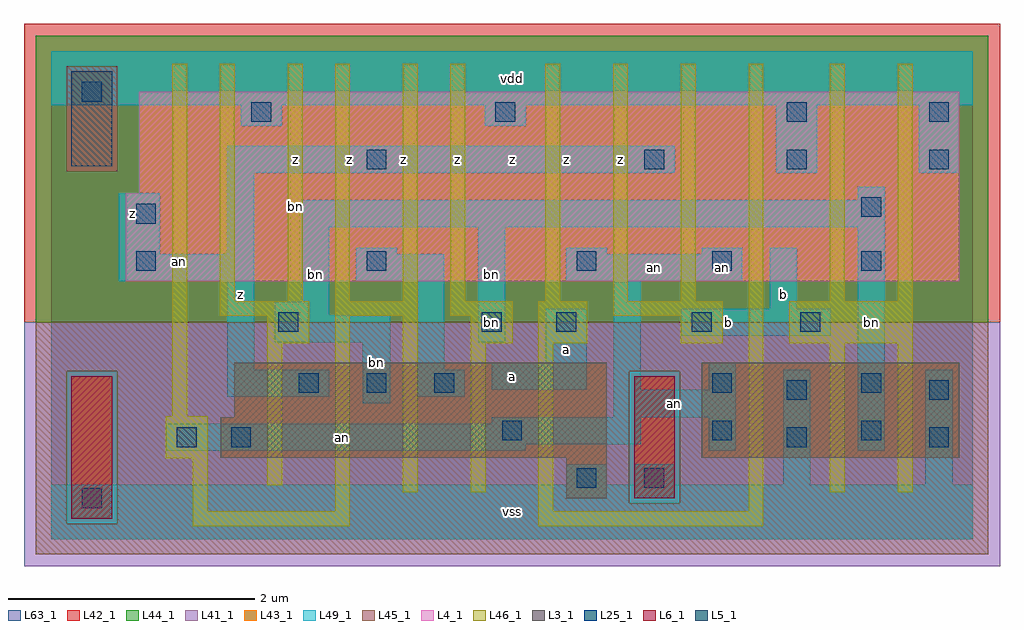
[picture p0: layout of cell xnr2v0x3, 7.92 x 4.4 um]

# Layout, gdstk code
import gdstk
lib = gdstk.Library(unit=1e-6, precision=1e-09)
def R(c, l, rs):  # rectangles x0, y0, x1, y1
    for r in rs: c.add(gdstk.rectangle(r[:2], r[2:], *l))
def A(c, l, x, y, w, h, nx, ny, dx, dy):  # array of equal rectangles
    R(c, l, [(x+i*dx, y+j*dy, x+i*dx+w, y+j*dy+h) for i in range(nx) for j in range(ny)])
L3_1 = (3, 1)
L4_1 = (4, 1)
L5_1 = (5, 1)
L6_1 = (6, 1)
L25_1 = (25, 1)
L41_1 = (41, 1)
L42_1 = (42, 1)
L43_1 = (43, 1)
L44_1 = (44, 1)
L45_1 = (45, 1)
L46_1 = (46, 1)
L49_1 = (49, 1)
L63_1 = (63, 1)

xnr2v0x3 = lib.new_cell('xnr2v0x3')
R(xnr2v0x3, L3_1, [(4.18,0.33,4.51,0.66), (1.375,0.66,4.51,0.99), (5.28,0.66,7.37,1.43), (1.485,0.99,4.51,1.43)])
R(xnr2v0x3, L4_1, [(0.605,2.09,7.37,2.805), (0.715,2.805,7.37,3.63)])
R(xnr2v0x3, L5_1, [(0.165,3.025,0.495,3.795)])
R(xnr2v0x3, L6_1, [(0.165,0.165,0.495,1.32), (4.73,0.33,5.06,1.32)])
A(xnr2v0x3, L25_1, 2.01, 1.185, 0.16, 0.16, 3, 1, 0.55, 0)
A(xnr2v0x3, L25_1, 4.815, 3, 0.16, 0.16, 3, 1, 1.155, 0)
R(xnr2v0x3, L25_1, [(0.25,0.25,0.41,0.41), (4.265,0.415,4.425,0.575), (4.815,0.415,4.975,0.575), (1.02,0.745,1.18,0.905), (1.46,0.745,1.62,0.905), (5.97,0.745,6.13,0.905), (7.125,0.745,7.285,0.905), (3.66,0.8,3.82,0.96), (5.365,0.8,5.525,0.96), (6.575,0.8,6.735,0.96), (5.97,1.13,6.13,1.29), (7.125,1.13,7.285,1.29), (5.365,1.185,5.525,1.345), (6.575,1.185,6.735,1.345), (1.845,1.68,2.005,1.84), (3.495,1.68,3.655,1.84), (4.1,1.68,4.26,1.84), (5.2,1.68,5.36,1.84), (6.08,1.68,6.24,1.84), (0.69,2.175,0.85,2.335), (2.56,2.175,2.72,2.335), (4.265,2.175,4.425,2.335), (5.365,2.175,5.525,2.335), (6.575,2.175,6.735,2.335), (0.69,2.56,0.85,2.72), (6.575,2.615,6.735,2.775), (2.56,3,2.72,3.16), (1.625,3.385,1.785,3.545), (3.605,3.385,3.765,3.545), (5.97,3.385,6.13,3.545), (7.125,3.385,7.285,3.545), (0.25,3.55,0.41,3.71)])
R(xnr2v0x3, L41_1, [(-0.22,-0.22,7.7,1.76)])
R(xnr2v0x3, L42_1, [(-0.22,1.76,7.7,4.18)])
R(xnr2v0x3, L43_1, [(0.165,0.165,0.495,1.32), (4.18,0.33,4.51,0.66), (4.73,0.33,5.06,1.32), (1.375,0.66,4.51,0.99), (5.28,0.66,7.37,1.43), (1.485,0.99,4.51,1.43), (0.605,2.09,7.37,2.805), (0.715,2.805,7.37,3.63), (0.165,3.025,0.495,3.795)])
R(xnr2v0x3, L44_1, [(0.125,0.125,0.535,1.36), (4.69,0.29,5.1,1.36), (-0.125,1.76,7.605,2.985), (-0.125,2.985,0.125,3.835), (0.535,2.985,7.605,3.835), (-0.125,3.835,7.605,4.085)])
R(xnr2v0x3, L45_1, [(-0.125,-0.125,7.605,0.125), (-0.125,0.125,0.125,1.36), (0.535,0.125,7.605,0.29), (0.535,0.29,4.69,1.36), (5.1,0.29,7.605,1.36), (-0.125,1.36,7.605,1.76), (0.125,2.985,0.535,3.835)])
A(xnr2v0x3, L46_1, 4.01, 1.93, 0.12, 1.925, 3, 1, 0.55, 0)
R(xnr2v0x3, L46_1, [(1.15,0.105,2.425,0.225), (3.955,0.105,5.78,0.225), (1.15,0.225,1.27,0.655), (2.305,0.225,2.425,1.81), (3.955,0.225,4.075,1.59), (5.66,0.225,5.78,3.855), (2.855,0.38,2.975,1.81), (3.405,0.38,3.525,1.59), (6.32,0.38,6.44,1.59), (6.87,0.38,6.99,1.59), (1.755,0.435,1.875,1.59), (0.93,0.655,1.27,0.995), (0.985,0.995,1.105,3.855), (1.755,1.59,2.095,1.81), (3.405,1.59,3.745,1.81), (3.955,1.59,4.35,1.93), (5.11,1.59,5.45,1.81), (5.99,1.59,6.99,1.93), (1.37,1.81,2.095,1.93), (2.305,1.81,2.975,1.93), (3.24,1.81,3.745,1.93), (4.56,1.81,5.45,1.93), (1.37,1.93,1.49,3.855), (1.92,1.93,2.04,3.855), (2.305,1.93,2.425,3.855), (2.855,1.93,2.975,3.855), (3.24,1.93,3.36,3.855), (6.32,1.93,6.44,3.855), (6.87,1.93,6.99,3.855)])
R(xnr2v0x3, L49_1, [(0,0,7.48,0.44), (4.18,0.44,4.51,0.605), (4.73,0.44,5.06,0.605), (5.94,0.44,6.16,1.375), (7.095,0.44,7.315,1.375), (0.935,0.715,3.85,0.77), (5.335,0.715,5.555,0.99), (6.545,0.715,6.765,2.53), (0.935,0.77,4.785,0.935), (3.575,0.935,4.785,0.99), (4.565,0.99,5.555,1.21), (2.53,1.1,2.75,1.595), (1.43,1.155,2.255,1.375), (2.97,1.155,3.355,1.375), (3.575,1.21,4.345,1.43), (4.565,1.21,4.785,2.09), (5.335,1.21,5.555,1.43), (1.43,1.375,1.65,2.09), (2.97,1.375,3.19,2.09), (4.015,1.43,4.345,1.87), (1.815,1.595,2.75,1.815), (3.465,1.595,3.685,2.53), (5.115,1.65,6.325,1.87), (1.815,1.815,2.255,1.925), (5.83,1.87,6.05,2.365), (2.035,1.925,2.255,2.53), (0.55,2.09,1.65,2.31), (2.475,2.09,3.19,2.31), (4.18,2.09,5.61,2.31), (0.55,2.31,0.88,2.805), (1.43,2.31,1.65,2.97), (2.475,2.31,2.805,2.365), (4.18,2.31,4.51,2.365), (5.28,2.31,5.61,2.365), (2.035,2.53,6.765,2.75), (6.545,2.75,6.765,2.86), (1.43,2.97,5.06,3.19), (5.885,2.97,6.215,3.52), (7.04,2.97,7.37,3.52), (1.54,3.355,1.87,3.52), (3.52,3.355,3.85,3.52), (0,3.52,7.48,3.96)])
R(xnr2v0x3, L63_1, [(0,0,7.48,3.96)])
xnr2v0x3.add(gdstk.Label('an', (1.045,2.255), layer=46, texttype=1))
xnr2v0x3.add(gdstk.Label('bn', (1.98,2.695), layer=46, texttype=1))
xnr2v0x3.add(gdstk.Label('bn', (3.575,1.76), layer=49, texttype=1))
xnr2v0x3.add(gdstk.Label('z', (1.1,2.2), layer=49, texttype=1))
xnr2v0x3.add(gdstk.Label('z', (0.66,2.64), layer=49, texttype=1))
xnr2v0x3.add(gdstk.Label('bn', (2.64,1.43), layer=49, texttype=1))
xnr2v0x3.add(gdstk.Label('z', (1.54,1.98), layer=49, texttype=1))
xnr2v0x3.add(gdstk.Label('bn', (2.145,2.145), layer=49, texttype=1))
xnr2v0x3.add(gdstk.Label('z', (2.42,3.08), layer=49, texttype=1))
xnr2v0x3.add(gdstk.Label('z', (1.98,3.08), layer=49, texttype=1))
xnr2v0x3.add(gdstk.Label('vss', (3.74,0.22), layer=49, texttype=1))
xnr2v0x3.add(gdstk.Label('an', (2.365,0.825), layer=49, texttype=1))
xnr2v0x3.add(gdstk.Label('a', (3.74,1.32), layer=49, texttype=1))
xnr2v0x3.add(gdstk.Label('a', (4.18,1.54), layer=49, texttype=1))
xnr2v0x3.add(gdstk.Label('bn', (3.575,2.145), layer=49, texttype=1))
xnr2v0x3.add(gdstk.Label('z', (3.3,3.08), layer=49, texttype=1))
xnr2v0x3.add(gdstk.Label('z', (4.18,3.08), layer=49, texttype=1))
xnr2v0x3.add(gdstk.Label('z', (3.74,3.08), layer=49, texttype=1))
xnr2v0x3.add(gdstk.Label('z', (2.86,3.08), layer=49, texttype=1))
xnr2v0x3.add(gdstk.Label('vdd', (3.74,3.74), layer=49, texttype=1))
xnr2v0x3.add(gdstk.Label('an', (5.06,1.1), layer=49, texttype=1))
xnr2v0x3.add(gdstk.Label('b', (5.5,1.76), layer=49, texttype=1))
xnr2v0x3.add(gdstk.Label('an', (4.895,2.2), layer=49, texttype=1))
xnr2v0x3.add(gdstk.Label('b', (5.94,1.98), layer=49, texttype=1))
xnr2v0x3.add(gdstk.Label('an', (5.445,2.2), layer=49, texttype=1))
xnr2v0x3.add(gdstk.Label('z', (4.62,3.08), layer=49, texttype=1))
xnr2v0x3.add(gdstk.Label('bn', (6.655,1.76), layer=49, texttype=1))

lib.write_gds('xnr2v0x3.gds')
